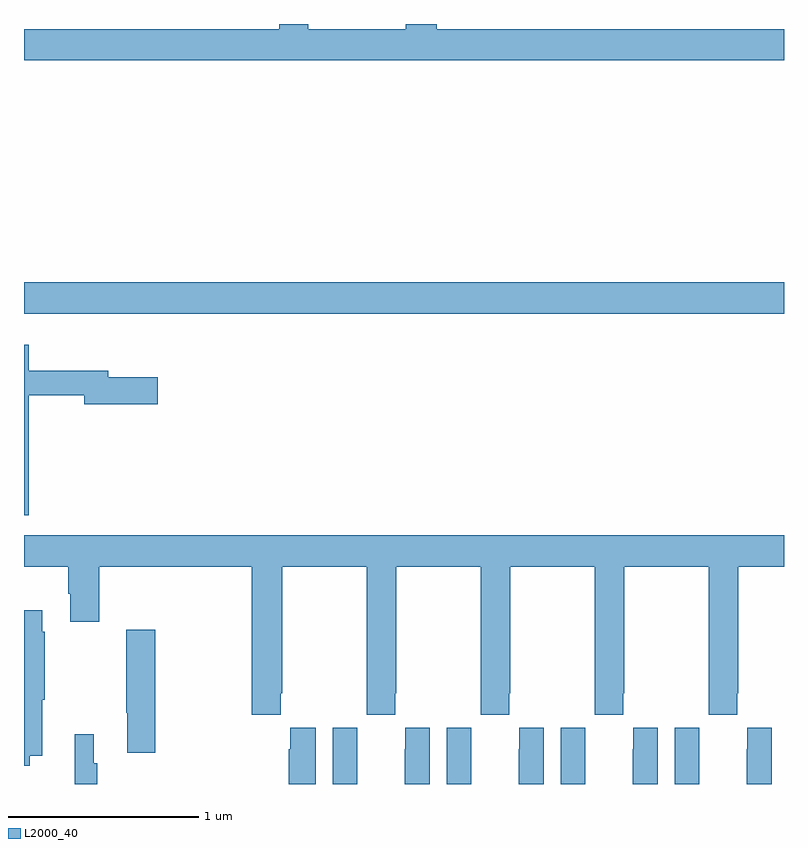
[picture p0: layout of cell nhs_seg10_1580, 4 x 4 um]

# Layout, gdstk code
import gdstk
lib = gdstk.Library(unit=1e-6, precision=1e-09)
def R(c, l, rs):  # rectangles x0, y0, x1, y1
    for r in rs: c.add(gdstk.rectangle(r[:2], r[2:], *l))
def P(c, l, *ps):  # polygons
    for p in ps: c.add(gdstk.Polygon(p, *l))
L2000_40 = (2000, 40)

nhs_seg10_1580 = lib.new_cell('nhs_seg10_1580')
R(nhs_seg10_1580, L2000_40, [(193,1306.976,197,1307.14)])
P(nhs_seg10_1580, L2000_40, [(197,1308.472),(195.173,1308.472),(195.173,1308.5),(195.008,1308.5),(195.008,1308.472),(194.495,1308.472),(194.495,1308.5),(194.343,1308.5),(194.343,1308.472),(193,1308.472),(193,1308.308),(197,1308.308)],
  [(193.025,1306.546),(193.316,1306.546),(193.316,1306.499),(193.705,1306.499),(193.705,1306.641),(193.444,1306.641),(193.444,1306.675),(193.025,1306.675),(193.025,1306.813),(193,1306.813),(193,1305.915),(193.025,1305.915)],
  [(194.351,1304.977),(194.358,1304.977),(194.358,1305.644),(194.803,1305.644),(194.803,1304.977),(194.805,1304.977),(194.805,1304.865),(194.955,1304.865),(194.955,1304.977),(194.958,1304.977),(194.958,1305.644),(195.403,1305.644),(195.403,1304.977),(195.405,1304.977),(195.405,1304.865),(195.555,1304.865),(195.555,1304.977),(195.558,1304.977),(195.558,1305.644),(196.003,1305.644),(196.003,1304.977),(196.005,1304.977),(196.005,1304.865),(196.155,1304.865),(196.155,1304.977),(196.158,1304.977),(196.158,1305.644),(196.603,1305.644),(196.603,1304.977),(196.605,1304.977),(196.605,1304.865),(196.755,1304.865),(196.755,1304.977),(196.758,1304.977),(196.758,1305.644),(197,1305.644),(197,1305.808),(193,1305.808),(193,1305.644),(193.232,1305.644),(193.232,1305.502),(193.244,1305.502),(193.244,1305.354),(193.397,1305.354),(193.397,1305.644),(194.198,1305.644),(194.198,1304.865),(194.351,1304.865)],
  [(193.03,1304.648),(193.096,1304.648),(193.096,1304.943),(193.108,1304.943),(193.108,1305.302),(193.096,1305.302),(193.096,1305.415),(193,1305.415),(193,1304.595),(193.03,1304.595)],
  [(193.691,1305.313),(193.537,1305.313),(193.537,1304.876),(193.544,1304.876),(193.544,1304.664),(193.691,1304.664)],
  [(196.936,1304.797),(196.806,1304.797),(196.806,1304.684),(196.805,1304.684),(196.805,1304.5),(196.936,1304.5)],
  [(196.555,1304.684),(196.554,1304.684),(196.554,1304.797),(196.424,1304.797),(196.424,1304.5),(196.555,1304.5)],
  [(196.336,1304.797),(196.206,1304.797),(196.206,1304.684),(196.205,1304.684),(196.205,1304.5),(196.336,1304.5)],
  [(194.536,1304.797),(194.402,1304.797),(194.402,1304.684),(194.393,1304.684),(194.393,1304.5),(194.536,1304.5)],
  [(194.755,1304.684),(194.754,1304.684),(194.754,1304.797),(194.624,1304.797),(194.624,1304.5),(194.755,1304.5)],
  [(195.136,1304.797),(195.006,1304.797),(195.006,1304.684),(195.005,1304.684),(195.005,1304.5),(195.136,1304.5)],
  [(195.355,1304.684),(195.354,1304.684),(195.354,1304.797),(195.224,1304.797),(195.224,1304.5),(195.355,1304.5)],
  [(195.736,1304.797),(195.606,1304.797),(195.606,1304.684),(195.605,1304.684),(195.605,1304.5),(195.736,1304.5)],
  [(195.955,1304.684),(195.954,1304.684),(195.954,1304.797),(195.824,1304.797),(195.824,1304.5),(195.955,1304.5)],
  [(193.385,1304.61),(193.366,1304.61),(193.366,1304.761),(193.267,1304.761),(193.267,1304.5),(193.385,1304.5)])

lib.write_gds('nhs_seg10_1580.gds')
